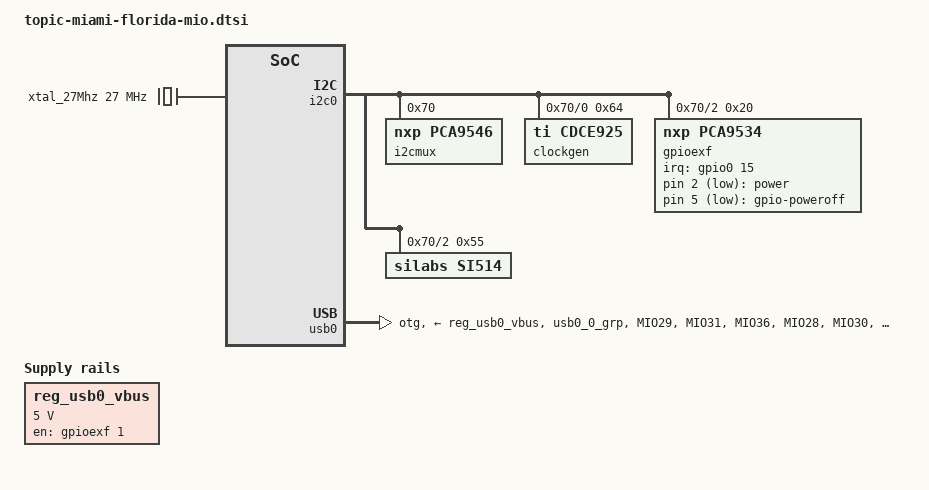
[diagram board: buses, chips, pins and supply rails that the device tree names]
/include/ "topic-miami.dtsi"

/* Common components for MIO parts of Florida boards. These are
 * accessible even without programming any logic. */

/ {
	/* Regulator for the 5V USB VBUS power line. This is connected
	 * to the second output of the GPIO expander. */
	reg_usb0_vbus: regulator_usb {
		compatible = "regulator-fixed";
		regulator-name = "usb0-vbus";
		regulator-min-microvolt = <5000000>;
		regulator-max-microvolt = <5000000>;
		gpio = <&gpioexf 1 0>;
		enable-active-high;
	};

	xtal_27Mhz: clock_xtal_27Mhz {
		compatible = "fixed-clock";
		#clock-cells = <0>;
		clock-frequency = <27000000>;
	};

	gpio_keys: gpio-keys {
		compatible = "gpio-keys";
		#address-cells = <1>;
		#size-cells = <0>;
		power {
			label = "power";
			gpios = <&gpioexf 2 1>; /* Input 2, active low */
			linux,code = <116>; /* KEY_POWER */
			gpio-key,wakeup;
		};
	};

	gpio-poweroff {
		compatible = "gpio-poweroff";
		gpios = <&gpioexf 5 1>; /* Output 5, active low */
		input;
	};
};

/* I2C bus layout */
&i2c0 {
	i2cmux: i2cswitch@70 {
		compatible = "nxp,pca9546";
		#address-cells = <1>;
		#size-cells = <0>;
		reg = <0x70>;

		i2cmux_0: i2c@0 {
			#address-cells = <1>;
			#size-cells = <0>;
			reg = <0>;
			/* Clock generator TI I2C chip, 27MHz . */
			clockgen: cdce925pw@64 {
				compatible = "ti,cdce925";
				reg = <0x64>;
				clocks = <&xtal_27Mhz>;
				xtal-load-pf = <5>; /* Crystal load-capacitor value */
				#clock-cells = <1>;
				/* PLL options, optional. For example to get SSC 1%
				 * centered, supply the following extra data:
				 *PLL2 {
				 *	spread-spectrum = <4>;
				 *	spread-spectrum-center;
				 *};
				 */
			};
		};
		i2cmux_2: i2c@2 {
			/* GEN */
			#address-cells = <1>;
			#size-cells = <0>;
			reg = <2>;
			/* GPIO expander */
			gpioexf: pca953x@20 {
				compatible = "nxp,pca9534";
				reg = <0x20>;
				/* 0=USB_OTG_OC_N 1=USB_OTG_EN_N 2=n.c. ...*/
				gpio-controller;
				#gpio-cells = <2>;
				interrupt-controller;
				/* IRQ line connected to MIO 15 */
				interrupt-parent = <&gpio0>;
				interrupts = <15 0x8>; /* GPIO 15, IRQ_TYPE_LEVEL_LOW */
			};
			si514: si514@55 {
				reg = <0x55>;
				#clock-cells = <0>;
				compatible = "silabs,si514";
			};
		};
	};
};

/* USB connected through MIO and GPIO expander */
&usb0 {
	status = "okay";
	vbus-supply = <&reg_usb0_vbus>;
	dr_mode = "otg";
	/* USB reset connected to output 0 of expander */
	xlnx,phy-reset-gpio = <&gpioex 0 0>;
	xlnx,phy-reset-gpio-tristate;
	pinctrl-names = "default";
	pinctrl-0 = <&pinctrl_usb0_default>;
};

&pinctrl0 {
	pinctrl_usb0_default: usb0-default {
		mux {
			groups = "usb0_0_grp";
			function = "usb0";
		};

		conf {
			groups = "usb0_0_grp";
			slew-rate = <0>;
			io-standard = <1>;
		};

		conf-rx {
			pins = "MIO29", "MIO31", "MIO36";
			bias-high-impedance;
		};

		conf-tx {
			pins = "MIO28", "MIO30", "MIO32", "MIO33", "MIO34",
			       "MIO35", "MIO37", "MIO38", "MIO39";
			bias-disable;
		};
	};
};
